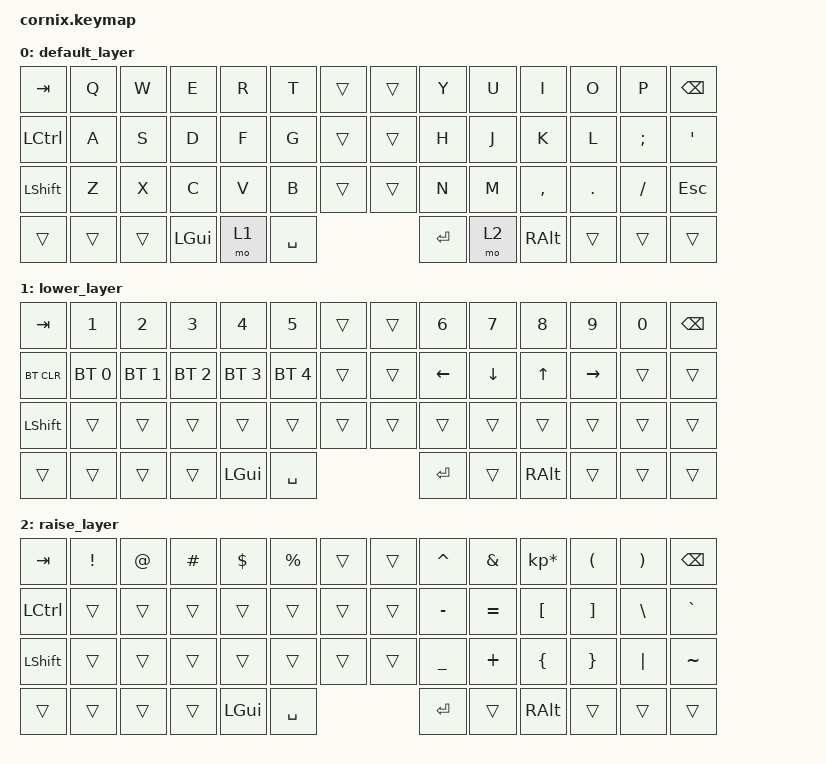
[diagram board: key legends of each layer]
/*
 * Copyright (c) 2020 The ZMK Contributors
 *
 * SPDX-License-Identifier: MIT
 */

#include <behaviors.dtsi>
#include <dt-bindings/zmk/keys.h>
#include <dt-bindings/zmk/bt.h>

/ {
        keymap {
                compatible = "zmk,keymap";

                default_layer {
// -----------------------------------------------------------------------------------------
// |  TAB |  Q  |  W  |  E  |  R  |  T  |      |   |      |  Y  |  U   |  I  |  O  |  P  | BKSP |
// | CTRL |  A  |  S  |  D  |  F  |  G  |      |   |      |  H  |  J   |  K  |  L  |  ;  |  '   |
// | SHFT |  Z  |  X  |  C  |  V  |  B  |      |   |      |  N  |  M   |  ,  |  .  |  /  | ESC  |
//                    | GUI | LWR | SPC | SPC2 |   | ENT2 | ENT | RSE  | ALT |
                        bindings = <
   &kp TAB   &kp Q &kp W &kp E &kp R &kp T          &trans &trans &kp Y &kp U  &kp I     &kp O   &kp P    &kp BSPC
   &kp LCTRL &kp A &kp S &kp D &kp F &kp G          &trans &trans &kp H &kp J  &kp K     &kp L   &kp SEMI &kp SQT
   &kp LSHFT &kp Z &kp X &kp C &kp V &kp B          &trans &trans &kp N &kp M  &kp COMMA &kp DOT &kp FSLH &kp ESC
   &trans    &trans &trans &kp LGUI &mo 1 &kp SPACE             &kp RET &mo 2 &kp RALT &trans  &trans   &trans
                        >;
                };
                lower_layer {
// -----------------------------------------------------------------------------------------
// |  TAB |  1  |  2  |  3  |  4  |  5  |      |   |      |  6  |  7  |  8  |  9  |  0  | BKSP |
// | BTCLR| BT1 | BT2 | BT3 | BT4 | BT5 |      |   |      | LFT | DWN |  UP | RGT |     |      |
// | SHFT |     |     |     |     |     |      |   |      |     |     |     |     |     |      |
//                    | GUI |     | SPC | SPC2 |   | ENT2 | ENT |     | ALT |
                        bindings = <
   &kp TAB    &kp N1       &kp N2       &kp N3       &kp N4       &kp N5         &trans &trans &kp N6   &kp N7   &kp N8 &kp N9    &kp N0 &kp BSPC
   &bt BT_CLR &bt BT_SEL 0 &bt BT_SEL 1 &bt BT_SEL 2 &bt BT_SEL 3 &bt BT_SEL 4   &trans &trans &kp LEFT &kp DOWN &kp UP &kp RIGHT &trans &trans
   &kp LSHFT  &trans       &trans       &trans       &trans       &trans         &trans &trans &trans   &trans   &trans &trans    &trans &trans
   &trans    &trans        &trans       &trans       &kp LGUI     &kp SPACE                    &kp RET  &trans   &kp RALT &trans &trans   &trans
                        >;
                };

                raise_layer {
// -----------------------------------------------------------------------------------------
// |  TAB |  !  |  @  |  #  |  $  |  %  |      |   |      |  ^  |  &  |  *  |  (  |  )  | BKSP |
// | CTRL |     |     |     |     |     |      |   |      |  -  |  =  |  [  |  ]  |  \  |  `   |
// | SHFT |     |     |     |     |     |      |   |      |  _  |  +  |  {  |  }  | "|" |  ~   |
//                    | GUI |     | SPC | SPC2 |   | ENT2 | ENT |     | ALT |
                        bindings = <
   &kp  TAB  &kp EXCL &kp AT &kp HASH &kp DLLR &kp PRCNT   &trans &trans &kp CARET &kp AMPS  &kp KP_MULTIPLY &kp LPAR &kp RPAR &kp BSPC
   &kp LCTRL &trans   &trans &trans   &trans   &trans      &trans &trans &kp MINUS &kp EQUAL &kp LBKT        &kp RBKT &kp BSLH &kp GRAVE
   &kp LSHFT &trans   &trans &trans   &trans   &trans      &trans &trans &kp UNDER &kp PLUS  &kp LBRC        &kp RBRC &kp PIPE &kp TILDE
   &trans    &trans   &trans &trans   &kp LGUI &kp SPACE                 &kp RET   &trans    &kp RALT        &trans   &trans   &trans 
                        >;
                };
        };
};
